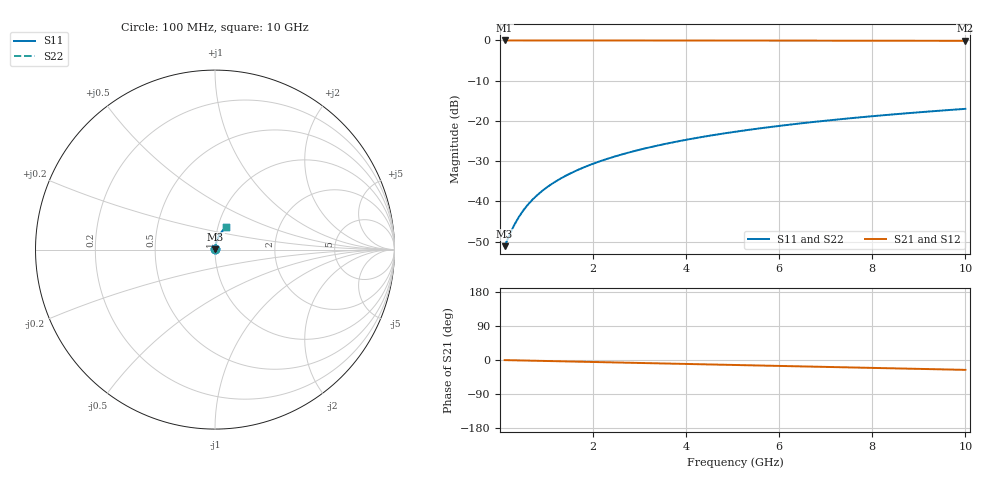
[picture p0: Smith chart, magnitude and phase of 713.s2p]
# Hz S RI R 50.00
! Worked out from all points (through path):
!   100 points, 100 MHz to 10 GHz, reference 50 ohm
!   highest |S21| = -0.02 dB at 100 MHz (marker M1); lowest = -0.1 dB at 10 GHz (marker M2)
!   group delay of S21, straight-line fit = 7.23 ps
!   lowest |S11| = -51.2 dB at 100 MHz (marker M3), VSWR 1.01, Z = 50.2 + j0.146 ohm
!   |S11| at or under -10 dB: start of sweep to end of sweep
!   |S22| runs from -51.2 to -17.0 dB; largest |S21 - S12| = 0
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1e8  0.00236 0.00145  0.9976 -0.00453  0.9976 -0.00453  0.00236 0.00145
2e8  0.00239 0.0029  0.9976 -0.00907  0.9976 -0.00907  0.00239 0.0029
3e8  0.00244 0.00435  0.9975 -0.0136  0.9975 -0.0136  0.00244 0.00435
4e8  0.00249 0.0058  0.9974 -0.0181  0.9974 -0.0181  0.00249 0.0058
5e8  0.00256 0.00725  0.9973 -0.0227  0.9973 -0.0227  0.00256 0.00725
6e8  0.00264 0.0087  0.9972 -0.0272  0.9972 -0.0272  0.00264 0.0087
7e8  0.00273 0.0101  0.997 -0.0317  0.997 -0.0317  0.00273 0.0101
9e8  0.00295 0.013  0.9966 -0.0408  0.9966 -0.0408  0.00295 0.013
1e9  0.00308 0.0145  0.9964 -0.0453  0.9964 -0.0453  0.00308 0.0145
1.2e9  0.00337 0.0174  0.9959 -0.0544  0.9959 -0.0544  0.00337 0.0174
1.5e9  0.00391 0.0217  0.995 -0.068  0.995 -0.068  0.00391 0.0217
1.8e9  0.00457 0.026  0.9938 -0.0815  0.9938 -0.0815  0.00457 0.026
2.1e9  0.00535 0.0302  0.9925 -0.095  0.9925 -0.095  0.00535 0.0302
2.5e9  0.00656 0.0359  0.9904 -0.1131  0.9904 -0.1131  0.00656 0.0359
2.9e9  0.00798 0.0415  0.9879 -0.131  0.9879 -0.131  0.00798 0.0415
3.4e9  0.01 0.0485  0.9843 -0.1534  0.9843 -0.1534  0.01 0.0485
4.2e9  0.014 0.0594  0.9775 -0.189  0.9775 -0.189  0.014 0.0594
5.1e9  0.0193 0.0712  0.968 -0.2286  0.968 -0.2286  0.0193 0.0712
5.9e9  0.0249 0.0814  0.9582 -0.2634  0.9582 -0.2634  0.0249 0.0814
6.7e9  0.0312 0.0911  0.947 -0.2978  0.947 -0.2978  0.0312 0.0911
8.4e9  0.0468 0.11  0.9188 -0.3689  0.9188 -0.3689  0.0468 0.11
1e10  0.064 0.1255  0.8871 -0.4333  0.8871 -0.4333  0.064 0.1255
